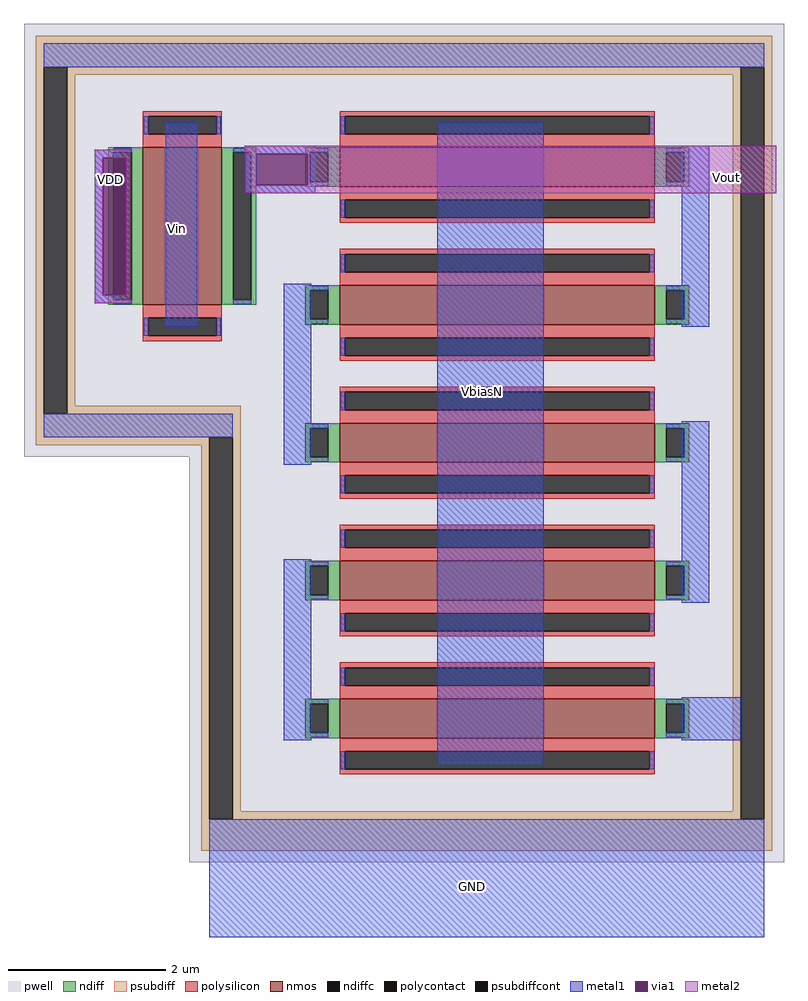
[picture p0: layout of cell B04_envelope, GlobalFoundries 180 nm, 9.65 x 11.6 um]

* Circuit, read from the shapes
.subckt B04_envelope VDD GND Vin VbiasN Vout
XM1 Vout Vin VDD GND nfet_03v3 w=2u l=1u
XM2 GND VbiasN n1 GND nfet_03v3 w=0.5u l=4u
XM3 n2 VbiasN n1 GND nfet_03v3 w=0.5u l=4u
XM4 n2 VbiasN n3 GND nfet_03v3 w=0.5u l=4u
XM5 n4 VbiasN n3 GND nfet_03v3 w=0.5u l=4u
XM6 n4 VbiasN Vout GND nfet_03v3 w=0.5u l=4u
.ends

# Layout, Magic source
magic
tech gf180mcuD
magscale 1 5
<< pwell >>
rect -345 415 620 965
rect -135 -100 620 415
<< psubdiff >>
rect -330 910 605 950
rect -330 470 -320 910
rect -290 900 565 910
rect -290 480 -280 900
rect -290 470 -70 480
rect -330 440 -70 470
rect -330 430 -110 440
rect -120 -45 -110 430
rect -80 -35 -70 440
rect 555 -35 565 900
rect -80 -45 565 -35
rect 595 -45 605 910
rect -120 -85 605 -45
<< psubdiffcont >>
rect -320 470 -290 910
rect -110 -45 -80 440
rect 565 -45 595 910
<< metal1 >>
rect -320 910 595 940
rect -255 795 -225 805
rect -255 620 -245 795
rect -255 610 -225 620
rect -165 580 -125 840
rect -65 800 25 810
rect -65 760 -50 800
rect 15 760 25 800
rect -65 750 25 760
rect -320 440 -80 470
rect -15 405 20 635
rect -15 55 20 285
rect 180 25 315 840
rect 490 580 525 810
rect 490 230 525 460
rect 490 55 565 110
rect -110 -195 595 -45
<< via1 >>
rect -245 620 -215 795
rect -50 760 15 800
<< metal2 >>
rect -255 795 -210 805
rect -255 620 -245 795
rect -215 620 -210 795
rect -65 800 610 810
rect -65 760 -50 800
rect 15 760 610 800
rect -65 750 610 760
rect -255 610 -210 620
use nfet_03v3_7CUFV7  nfet_03v3_7CUFV7_0
transform 1 0 256 0 1 258
box -256 -83 256 83
use nfet_03v3_7CUFV7  nfet_03v3_7CUFV7_1
transform 1 0 256 0 1 608
box -256 -83 256 83
use nfet_03v3_7CUFV7  nfet_03v3_7CUFV7_2
transform 1 0 256 0 1 433
box -256 -83 256 83
use nfet_03v3_7CUFV7  nfet_03v3_7CUFV7_3
transform 1 0 256 0 1 783
box -256 -83 256 83
use nfet_03v3_SE6W7U  XM1
transform 1 0 -144 0 1 708
box -106 -158 106 158
use nfet_03v3_7CUFV7  XM2
transform 1 0 256 0 1 83
box -256 -83 256 83
<< labels >>
flabel metal1 215 485 260 510 0 FreeSans 320 0 0 0 VbiasN
port 3 nsew
flabel metal1 -160 690 -140 720 0 FreeSans 320 0 0 0 Vin
port 2 nsew
flabel metal2 -250 755 -220 780 0 FreeSans 400 0 0 0 VDD
port 0 nsew
flabel metal1 175 -165 275 -95 0 FreeSans 400 0 0 0 GND
port 1 nsew
flabel metal2 530 760 565 780 0 FreeSans 320 0 0 0 Vout
port 4 nsew
<< end >>

# cell nfet_03v3_7CUFV7: kit device nfet_03v3, w 0.5 l 4 m 1 nf 1 diffcov 100 polycov 100 guard 0 glc 0 grc 0 gtc 0 gbc 0 tbcov 100 rlcov 100 topc 1 botc 1 poverlap 0 doverlap 1 lmin 0.28 wmin 0.22 class mosfet full_metal 0 compatible {nfet_03v3 nfet_05v0 nfet_06v0 nfet_06v0_nvt}

# cell nfet_03v3_SE6W7U: kit device nfet_03v3, w 2 l 1 m 1 nf 1 diffcov 100 polycov 100 guard 0 glc 0 grc 0 gtc 0 gbc 0 tbcov 100 rlcov 100 topc 1 botc 1 poverlap 0 doverlap 1 lmin 0.28 wmin 0.22 class mosfet full_metal 0 compatible {nfet_03v3 nfet_05v0 nfet_06v0 nfet_06v0_nvt}
